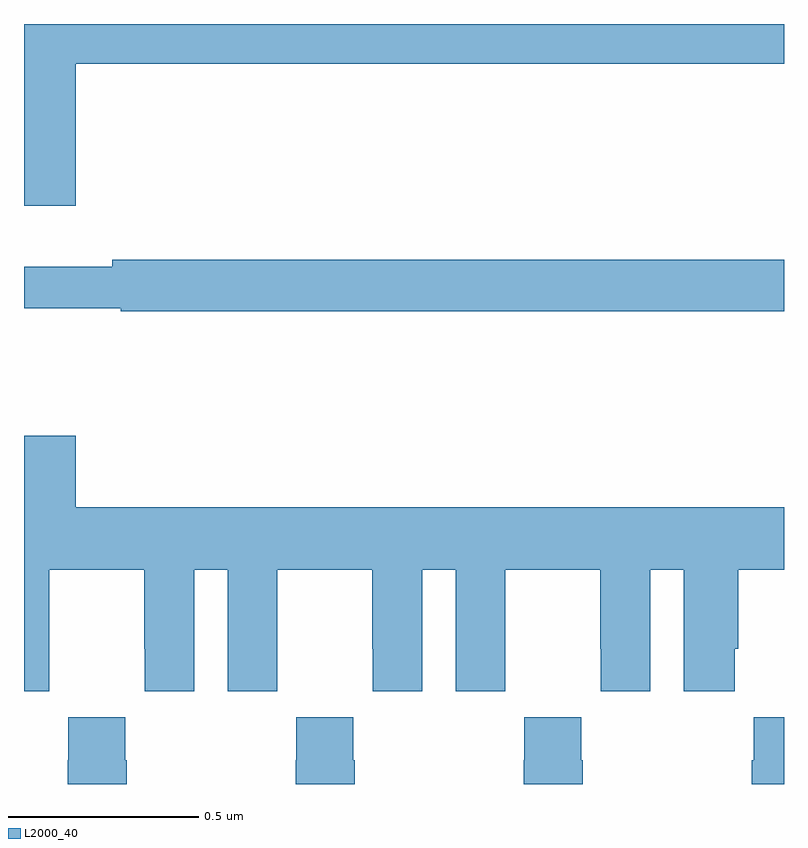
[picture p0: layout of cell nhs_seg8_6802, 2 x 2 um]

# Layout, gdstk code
import gdstk
lib = gdstk.Library(unit=1e-6, precision=1e-09)
def P(c, l, *ps):  # polygons
    for p in ps: c.add(gdstk.Polygon(p, *l))
L2000_40 = (2000, 40)

nhs_seg8_6802 = lib.new_cell('nhs_seg8_6802')
P(nhs_seg8_6802, L2000_40, [(201.136,1153.796),(203,1153.796),(203,1153.9),(201,1153.9),(201,1153.422),(201.136,1153.422)],
  [(203,1153.28),(201.232,1153.28),(201.232,1153.261),(201,1153.261),(201,1153.152),(201.255,1153.152),(201.255,1153.144),(203,1153.144)],
  [(201.136,1152.817),(201,1152.817),(201,1152.144),(201.066,1152.144),(201.066,1152.256),(201.067,1152.256),(201.067,1152.464),(201.317,1152.464),(201.317,1152.256),(201.318,1152.256),(201.318,1152.144),(201.448,1152.144),(201.448,1152.464),(201.536,1152.464),(201.536,1152.144),(201.666,1152.144),(201.666,1152.256),(201.667,1152.256),(201.667,1152.464),(201.917,1152.464),(201.917,1152.256),(201.918,1152.256),(201.918,1152.144),(202.048,1152.144),(202.048,1152.464),(202.136,1152.464),(202.136,1152.144),(202.266,1152.144),(202.266,1152.256),(202.267,1152.256),(202.267,1152.464),(202.517,1152.464),(202.517,1152.256),(202.518,1152.256),(202.518,1152.144),(202.648,1152.144),(202.648,1152.464),(202.736,1152.464),(202.736,1152.144),(202.87,1152.144),(202.87,1152.256),(202.88,1152.256),(202.88,1152.464),(203,1152.464),(203,1152.628),(201.136,1152.628)],
  [(203,1152.076),(202.921,1152.076),(202.921,1151.963),(202.915,1151.963),(202.915,1151.9),(203,1151.9)],
  [(202.47,1151.963),(202.467,1151.963),(202.467,1152.076),(202.317,1152.076),(202.317,1151.963),(202.315,1151.963),(202.315,1151.9),(202.47,1151.9)],
  [(201.87,1151.963),(201.867,1151.963),(201.867,1152.076),(201.717,1152.076),(201.717,1151.963),(201.715,1151.963),(201.715,1151.9),(201.87,1151.9)],
  [(201.27,1151.963),(201.267,1151.963),(201.267,1152.076),(201.117,1152.076),(201.117,1151.963),(201.115,1151.963),(201.115,1151.9),(201.27,1151.9)])

lib.write_gds('nhs_seg8_6802.gds')
